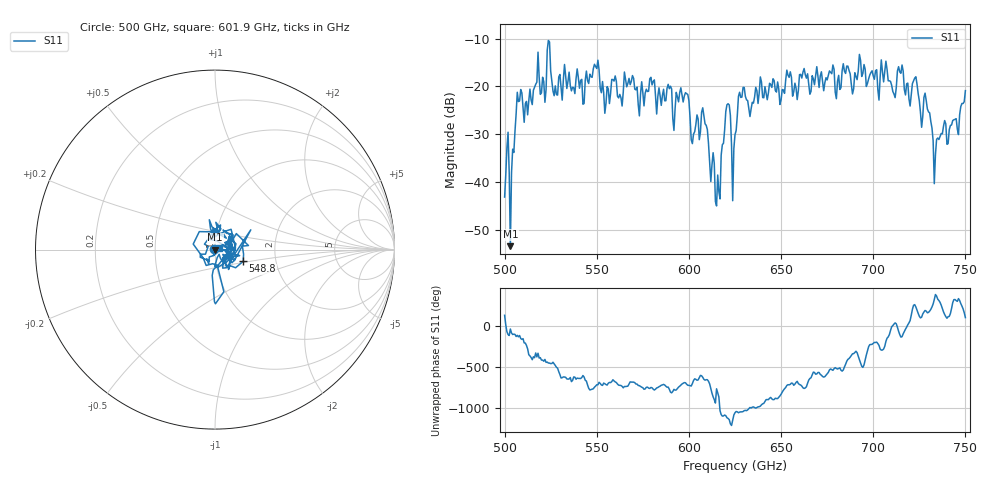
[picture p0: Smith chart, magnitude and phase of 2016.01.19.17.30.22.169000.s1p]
!Created with skrf (http://scikit-rf.org).
# GHz S RI R 50.0
!freq ReS11 ImS11
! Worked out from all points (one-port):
!   401 points, 500 GHz to 750 GHz, reference 50 ohm
!   lowest |S11| = -53.5 dB at 503.1 GHz (marker M1), VSWR 1.00, Z = 50.2 - j0.129 ohm
!   |S11| at or under -10 dB: start of sweep to end of sweep
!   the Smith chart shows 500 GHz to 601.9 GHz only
!   S11 on the Smith chart (normalised r, x): 500 GHz: 0.99, +0.01; 548.8 GHz: 1.36, -0.18; 601.9 GHz: 1.05, +0.02
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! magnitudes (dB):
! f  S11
! 500 GHz  -43.2
! 503.1 GHz  -53.5
! 508.1 GHz  -23.1
! 521.2 GHz  -19.0
! 524.4 GHz  -10.7
! 527.5 GHz  -19.9
! 531.2 GHz  -22.9
! 541.9 GHz  -18.5
! 548.8 GHz  -15.4
! 562.5 GHz  -21.7
! 568.8 GHz  -19.0
! 593.8 GHz  -22.2
! 598.8 GHz  -21.5
! 601.9 GHz  -32.0
! 608.1 GHz  -26.1
! 615.6 GHz  -38.6
! 620.6 GHz  -23.9
! 625 GHz  -30.1
! 628.8 GHz  -22.3
! 656.2 GHz  -22.1
! 687.5 GHz  -17.4
! 705.6 GHz  -19.1
! 711.2 GHz  -21.6
! 715 GHz  -17.3
! 718.8 GHz  -19.3
! 728.8 GHz  -23.0
! 733.8 GHz  -34.3
! 750 GHz  -20.9
